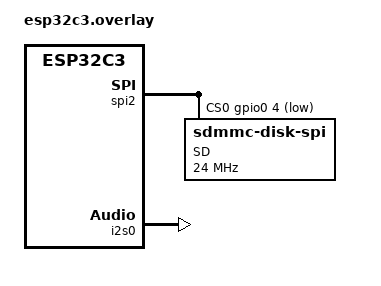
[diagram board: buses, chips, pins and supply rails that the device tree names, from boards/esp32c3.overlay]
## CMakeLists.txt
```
cmake_minimum_required(VERSION 3.20.0)
find_package(Zephyr REQUIRED HINTS $ENV{ZEPHYR_BASE})
project(ai_pin_firmware)

zephyr_include_directories(include)

target_sources(app PRIVATE
  src/main.c
  src/audio.c
  src/ui.c
  src/ws2812.c
)
```

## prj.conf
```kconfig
# Logging
CONFIG_LOG=y
CONFIG_LOG_DEFAULT_LEVEL=3

# Console over UART
CONFIG_SERIAL=y
CONFIG_UART_CONSOLE=y

# Filesystem (disabled for basic bring-up)
# CONFIG_FILE_SYSTEM is not set
# CONFIG_FAT_FILESYSTEM_ELM is not set
# CONFIG_DISK_ACCESS is not set
# CONFIG_SPI is not set
# CONFIG_SPI_INIT_PRIORITY is not set
# CONFIG_FS_FATFS_LFN is not set
# CONFIG_FS_FATFS_MAX_LFN is not set
# CONFIG_FS_FATFS_NUM_FILES is not set
# CONFIG_FS_FATFS_NUM_DIRS is not set
# Use default autogenerated FF_VOLUME_STRS from DT
# (no explicit volume strings needed with sdhc-spi-slot)

# I2S audio
CONFIG_I2S=y
CONFIG_I2S_INIT_PRIORITY=80
CONFIG_AUDIO=y
CONFIG_RING_BUFFER=y
CONFIG_DMA=y
CONFIG_DMA_ESP32=y

# Networking (disabled for basic bring-up)
# CONFIG_NETWORKING is not set
# CONFIG_NET_IPV4 is not set
# CONFIG_NET_SOCKETS is not set
# CONFIG_NET_SOCKETS_SOCKOPT_TLS is not set
# CONFIG_MBEDTLS is not set
# CONFIG_HTTP_CLIENT is not set
# CONFIG_NET_DHCPV4 is not set
# CONFIG_WIFI is not set
# CONFIG_NET_CONFIG_SETTINGS is not set

# Settings (NVS backed)
CONFIG_SETTINGS=y

# Threading
CONFIG_MAIN_STACK_SIZE=4096
CONFIG_SYSTEM_WORKQUEUE_STACK_SIZE=4096

# Logging backends
CONFIG_LOG_PROCESS_THREAD=y
CONFIG_LOG_PROCESS_THREAD_STACK_SIZE=2048

# GPIO for LEDs
CONFIG_GPIO=y
```

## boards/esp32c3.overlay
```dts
/ {
    aliases {
        spi-sd = &spi2;
    };
};

&spi2 {
    status = "okay";
    cs-gpios = <&gpio0 4 GPIO_ACTIVE_LOW>; // microSD CS on GPIO4 per ai-pin.ato
    /* Adjust these pins to match your actual board routing */
    /* mosi: IO7, miso: IO2, sclk: IO6 (example) */

    sdcard: spi-slot@0 {
        compatible = "zephyr,sdmmc-disk-spi";
        reg = <0>;
        spi-max-frequency = <24000000>;
        status = "okay";
        label = "SD";
    };
};

&i2s0 {
    status = "okay";
    /* Configure pinctrl for your ICS-43434 I2S mic here */
};
```

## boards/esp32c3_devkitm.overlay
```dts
/ {
    chosen {
        zephyr,console = &usb_serial;
        zephyr,uart-mcumgr = &usb_serial;
    };
    aliases {
        spi-sd = &spi2;
        status-led0 = &gpio0;
    };
};

&spi2 {
    status = "okay";
    pinctrl-0 = <&spim2_ai_default>;
    pinctrl-names = "default";
    cs-gpios = <&gpio0 4 GPIO_ACTIVE_LOW>; // microSD CS on GPIO4 per ai-pin.ato

    sdcard: spi-slot@0 {
        compatible = "zephyr,sdhc-spi-slot";
        reg = <0>;
        spi-max-frequency = <4000000>;
        status = "okay";
        mmc {
            compatible = "zephyr,sdmmc-disk";
            disk-name = "SD";
            status = "okay";
        };
    };
};

&i2s {
    status = "disabled";
};

&dma {
    status = "okay";
};

/* GPIO20 used for red indicator LED, GPIO21 used for WS2812 data */
&gpio0 {
    status = "okay";
};

&pinctrl {
    spim2_ai_default: spim2_ai_default {
        group1 {
            pinmux = <SPIM2_MISO_GPIO8>,
                     <SPIM2_SCLK_GPIO10>;
        };
        group2 {
            pinmux = <SPIM2_MOSI_GPIO7>;
            output-low;
        };
    };
};
```

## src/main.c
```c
// Core
#include <zephyr/kernel.h>
#include <zephyr/logging/log.h>

// Subsystems
#include "audio.h"
#include "storage.h"
#include "net.h"
#include "ui.h"

LOG_MODULE_REGISTER(ai_pin, LOG_LEVEL_INF);

static void start_workers(void)
{
    // storage_init();
    // audio_init();
    // net_init();
    ui_init();

    // storage_start();
    // audio_start();
}

int main(void)
{
    LOG_INF("AI Pin firmware (Zephyr) booting");

    start_workers();

    while (true)
    {
        ui_tick();
        k_sleep(K_MSEC(100));
    }
    return 0;
}
```

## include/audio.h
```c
#pragma once

#include <zephyr/kernel.h>

// Audio capture parameters (16 kHz, 16-bit, mono)
#define AI_AUDIO_SAMPLE_RATE_HZ 16000
#define AI_AUDIO_BITS_PER_SAMPLE 16
#define AI_AUDIO_CHANNELS 1

// Size of ring buffer in bytes (2 seconds of audio)
#define AI_AUDIO_RING_BYTES (AI_AUDIO_SAMPLE_RATE_HZ * 2 /*bytes*/ * 2 /*sec*/)

void audio_init(void);
void audio_start(void);
void audio_stop(void);

// Called by storage to pull PCM data; returns bytes copied
size_t audio_read(uint8_t *dst, size_t max_len, k_timeout_t timeout);
```

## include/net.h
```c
#pragma once

// Networking stubs (Wi‑Fi manager + uploader)

int net_init(void);
int net_connect_async(void);

// Wi‑Fi provisioning expects /SD:/wifi.txt with lines:
// ssid=YourNetwork
// psk=YourPassword

// Status helpers
bool net_is_wifi_connected(void);
```

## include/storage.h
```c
#pragma once

#include <zephyr/kernel.h>
#include <zephyr/fs/fs.h>

// Initialize filesystem and worker thread
int storage_init(void);
int storage_start(void);

// File rotation control (duration in seconds)
void storage_set_segment_duration(uint32_t seconds);

// Simple API to signal start/stop of recording
void storage_begin_recording(void);
void storage_end_recording(void);

// Status helpers
bool storage_is_mounted(void);
```

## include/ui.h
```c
#pragma once

void ui_init(void);
void ui_tick(void);
```

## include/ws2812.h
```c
#pragma once

#include <zephyr/kernel.h>

/*
 Minimal WS2812/SK6805 single-LED driver using GPIO bit-banging.
 Timing is approximate; sufficient for a single LED status indicator.
*/

void ws2812_init(void);
void ws2812_set_rgb(uint8_t r, uint8_t g, uint8_t b);
void ws2812_off(void);
/* Allow tuning of timing (counts of inline NOPs) */
void ws2812_set_timing(uint32_t t0h_nops, uint32_t t0l_nops, uint32_t t1h_nops, uint32_t t1l_nops);
```

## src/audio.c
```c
#include <zephyr/kernel.h>
#include <zephyr/logging/log.h>
#include <zephyr/sys/ring_buffer.h>

#include "audio.h"

LOG_MODULE_REGISTER(ai_audio, LOG_LEVEL_INF);

static uint8_t audio_ring_buf_mem[AI_AUDIO_RING_BYTES];
static struct ring_buf audio_ring;

static struct k_thread audio_thread_data;
static K_THREAD_STACK_DEFINE(audio_stack, 2048);
static k_tid_t audio_tid;

static volatile bool running = false;

static void audio_thread(void *p1, void *p2, void *p3)
{
    ARG_UNUSED(p1);
    ARG_UNUSED(p2);
    ARG_UNUSED(p3);

    // Temporary stub source: generate silence into ring buffer at ~16 kHz
    running = true;
    const uint32_t bytes_per_ms = (AI_AUDIO_SAMPLE_RATE_HZ / 1000) * (AI_AUDIO_BITS_PER_SAMPLE / 8) * AI_AUDIO_CHANNELS;
    uint8_t zero_buf[512] = {0};
    while (running)
    {
        uint32_t to_write = MIN(bytes_per_ms * 10, (uint32_t)sizeof(zero_buf));
        uint32_t wrote = ring_buf_put(&audio_ring, zero_buf, to_write);
        if (wrote < to_write)
        {
            // drop silently
        }
        k_sleep(K_MSEC(10));
    }
}

void audio_init(void)
{
    ring_buf_init(&audio_ring, sizeof(audio_ring_buf_mem), audio_ring_buf_mem);
}

void audio_start(void)
{
    if (audio_tid)
        return;
    audio_tid = k_thread_create(&audio_thread_data, audio_stack, K_THREAD_STACK_SIZEOF(audio_stack),
                                audio_thread, NULL, NULL, NULL, K_PRIO_PREEMPT(5), 0, K_NO_WAIT);
}

void audio_stop(void)
{
    running = false;
}

size_t audio_read(uint8_t *dst, size_t max_len, k_timeout_t timeout)
{
    size_t n = ring_buf_get(&audio_ring, dst, max_len);
    if (n == 0)
    {
        k_sleep(timeout);
        n = ring_buf_get(&audio_ring, dst, max_len);
    }
    return n;
}
```

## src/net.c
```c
// Core / logging
#include <zephyr/kernel.h>
#include <zephyr/logging/log.h>

// Filesystem
#include <zephyr/fs/fs.h>

// Networking
#include <zephyr/net/net_if.h>
#include <zephyr/net/net_mgmt.h>
#include <zephyr/net/wifi_mgmt.h>
#include <ctype.h>

#include "net.h"

LOG_MODULE_REGISTER(ai_net, LOG_LEVEL_INF);

static struct k_thread wifi_thread_data;
static K_THREAD_STACK_DEFINE(wifi_stack, 2048);
static k_tid_t wifi_tid;

static struct net_mgmt_event_callback wifi_cb;
static struct net_if *wifi_iface;

static volatile bool wifi_connected = false;
bool net_is_wifi_connected(void)
{
    return wifi_connected;
}

static void wifi_event_handler(struct net_mgmt_event_callback *cb, uint32_t mgmt_event, struct net_if *iface)
{
    switch (mgmt_event)
    {
    case NET_EVENT_WIFI_CONNECT_RESULT:
        LOG_INF("Wi‑Fi connect result: %d", cb->info ? *(int *)cb->info : 0);
        break;
    case NET_EVENT_WIFI_DISCONNECT_RESULT:
        LOG_WRN("Wi‑Fi disconnected");
        wifi_connected = false;
        break;
    case NET_EVENT_IPV4_ADDR_ADD:
        LOG_INF("Got IPv4 address");
        wifi_connected = true;
        break;
    default:
        break;
    }
}

static int read_wifi_txt(char *ssid, size_t ssid_sz, char *psk, size_t psk_sz)
{
    struct fs_file_t file;
    fs_file_t_init(&file);
    int rc = fs_open(&file, "/SD:/wifi.txt", FS_O_READ);
    if (rc < 0)
    {
        return rc;
    }
    char buf[256];
    ssize_t n = fs_read(&file, buf, sizeof(buf) - 1);
    fs_close(&file);
    if (n <= 0)
    {
        return -EIO;
    }
    buf[n] = '\0';
    // Simple parser: lines like "ssid=..." and "psk=..." (case‑insensitive)
    char *line = buf;
    while (line && *line)
    {
        char *next = strchr(line, '\n');
        if (next)
            *next = '\0';
        // trim leading spaces
        while (*line == ' ' || *line == '\t' || *line == '\r')
            line++;
        // find '=' or ':'
        char *sep = strchr(line, '=');
        if (!sep)
            sep = strchr(line, ':');
        if (sep)
        {
            *sep = '\0';
            char *key = line;
            char *val = sep + 1;
            // trim key end
            for (char *p = key; *p; ++p)
                *p = (char)tolower((unsigned char)*p);
            while (*val == ' ' || *val == '\t')
                val++;
            if (strcmp(key, "ssid") == 0)
            {
                strncpy(ssid, val, ssid_sz - 1);
                ssid[ssid_sz - 1] = '\0';
            }
            else if (strcmp(key, "psk") == 0 || strcmp(key, "password") == 0 || strcmp(key, "pass") == 0)
            {
                strncpy(psk, val, psk_sz - 1);
                psk[psk_sz - 1] = '\0';
            }
        }
        line = next ? (next + 1) : NULL;
    }
    return 0;
}

static int wifi_connect_with_credentials(const char *ssid, const char *psk)
{
    struct wifi_connect_req_params params = {0};
    params.ssid = ssid;
    params.ssid_length = strlen(ssid);
    params.psk = psk;
    params.psk_length = strlen(psk);
    params.security = WIFI_SECURITY_TYPE_PSK;
    params.channel = WIFI_CHANNEL_ANY;
    params.mfp = WIFI_MFP_OPTIONAL;

    int rc = net_mgmt(NET_REQUEST_WIFI_CONNECT, wifi_iface, &params, sizeof(params));
    if (rc)
    {
        LOG_ERR("Wi‑Fi connect request failed: %d", rc);
        return rc;
    }
    return 0;
}

static void wifi_thread(void *p1, void *p2, void *p3)
{
    ARG_UNUSED(p1);
    ARG_UNUSED(p2);
    ARG_UNUSED(p3);

    // Subscribe to Wi‑Fi and IP events
    net_mgmt_init_event_callback(&wifi_cb, (net_mgmt_event_handler_t)wifi_event_handler,
                                 NET_EVENT_WIFI_CONNECT_RESULT |
                                     NET_EVENT_WIFI_DISCONNECT_RESULT |
                                     NET_EVENT_IPV4_ADDR_ADD);
    net_mgmt_add_event_callback(&wifi_cb);

    wifi_iface = net_if_get_default();
    if (!wifi_iface)
    {
        LOG_ERR("No default net_if");
        return;
    }

    // Poll for credentials file on SD card
    char ssid[64] = {0};
    char psk[64] = {0};
    while (read_wifi_txt(ssid, sizeof(ssid), psk, sizeof(psk)) < 0)
    {
        k_sleep(K_SECONDS(1));
    }
    LOG_INF("Read Wi‑Fi credentials for SSID='%s'", ssid);

    // Attempt connection
    int rc = wifi_connect_with_credentials(ssid, psk);
    if (rc)
    {
        return;
    }

    // Wait until we are connected (got IPv4) or timeout
    int64_t deadline = k_uptime_get() + 2000; // 2s
    while (!wifi_connected && k_uptime_get() < deadline)
    {
        k_sleep(K_MSEC(200));
    }
    if (wifi_connected)
    {
        LOG_INF("Wi‑Fi connected and IPv4 acquired");
    }
    else
    {
        LOG_WRN("Wi‑Fi connect timeout");
    }
}

int net_init(void)
{
    if (wifi_tid)
        return 0;
    wifi_tid = k_thread_create(&wifi_thread_data, wifi_stack, K_THREAD_STACK_SIZEOF(wifi_stack),
                               wifi_thread, NULL, NULL, NULL, K_PRIO_PREEMPT(8), 0, K_NO_WAIT);
    return 0;
}

int net_connect_async(void)
{
    // Thread starts in net_init
    return 0;
}
```

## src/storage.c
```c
#include <zephyr/kernel.h>
#include <zephyr/fs/fs.h>
#include <zephyr/drivers/disk.h>
#include <zephyr/logging/log.h>
#include <zephyr/posix/time.h>

#include "audio.h"
#include "storage.h"

LOG_MODULE_REGISTER(ai_storage, LOG_LEVEL_INF);

// Mount point for FATFS
static const char *mount_point = "/SD:";

static struct fs_mount_t mp = {
    .type = FS_FATFS,
    .mnt_point = "/SD:",
};

static struct k_thread storage_thread_data;
static K_THREAD_STACK_DEFINE(storage_stack, 4096);
static k_tid_t storage_tid;

static volatile bool recording = true;
static uint32_t segment_seconds = 300; // default 5 minutes

static int wav_open(struct fs_file_t *file, char *path, size_t path_len, uint32_t sample_rate, uint16_t bits, uint16_t channels)
{
    // Generate filename with monotonic time
    int64_t now_ms = k_uptime_get();
    snprintk(path, path_len, "%s/%lld.wav", mount_point, (long long)now_ms);

    int rc = fs_open(file, path, FS_O_CREATE | FS_O_WRITE);
    if (rc < 0)
    {
        LOG_ERR("fs_open %s failed: %d", path, rc);
        return rc;
    }
    // Write a 44-byte WAV header placeholder; we will fix sizes on close
    uint8_t header[44] = {0};
    // RIFF chunk
    memcpy(header + 0, "RIFF", 4);
    // chunk size placeholder at +4
    memcpy(header + 8, "WAVE", 4);
    // fmt chunk
    memcpy(header + 12, "fmt ", 4);
    header[16] = 16; // PCM fmt chunk size
    header[20] = 1;  // PCM format
    header[22] = channels & 0xFF;
    header[23] = (channels >> 8) & 0xFF;
    uint32_t sr = sample_rate;
    header[24] = sr & 0xFF;
    header[25] = (sr >> 8) & 0xFF;
    header[26] = (sr >> 16) & 0xFF;
    header[27] = (sr >> 24) & 0xFF;
    uint16_t bps = bits;
    uint16_t block_align = (channels * (bps / 8));
    uint32_t byte_rate = sr * block_align;
    header[28] = byte_rate & 0xFF;
    header[29] = (byte_rate >> 8) & 0xFF;
    header[30] = (byte_rate >> 16) & 0xFF;
    header[31] = (byte_rate >> 24) & 0xFF;
    header[32] = block_align & 0xFF;
    header[33] = (block_align >> 8) & 0xFF;
    header[34] = bps & 0xFF;
    header[35] = (bps >> 8) & 0xFF;
    // data chunk
    memcpy(header + 36, "data", 4);
    // data size at +40 placeholder

    rc = fs_write(file, header, sizeof(header));
    if (rc < 0)
    {
        LOG_ERR("fs_write header failed: %d", rc);
        fs_close(file);
        return rc;
    }
    return 0;
}

static int wav_finalize(struct fs_file_t *file)
{
    // Update RIFF and data sizes
    off_t file_size = fs_tell(file);
    if (file_size < 44)
        return -EINVAL;
    uint32_t data_size = file_size - 44;
    uint32_t riff_size = file_size - 8;
    // Seek and write
    fs_seek(file, 4, FS_SEEK_SET);
    uint8_t tmp[4];
    tmp[0] = riff_size & 0xFF;
    tmp[1] = (riff_size >> 8) & 0xFF;
    tmp[2] = (riff_size >> 16) & 0xFF;
    tmp[3] = (riff_size >> 24) & 0xFF;
    fs_write(file, tmp, 4);
    fs_seek(file, 40, FS_SEEK_SET);
    tmp[0] = data_size & 0xFF;
    tmp[1] = (data_size >> 8) & 0xFF;
    tmp[2] = (data_size >> 16) & 0xFF;
    tmp[3] = (data_size >> 24) & 0xFF;
    fs_write(file, tmp, 4);
    fs_sync(file);
    return 0;
}

static volatile bool g_mounted = false;

bool storage_is_mounted(void)
{
    return g_mounted;
}

static int ensure_mount(void)
{
    static bool mounted = false;
    if (mounted)
        return 0;

    // Allow card power-up settle
    k_sleep(K_MSEC(200));
    int rc = disk_access_init("SD");
    if (rc)
    {
        LOG_ERR("disk_access_init failed: %d", rc);
        return rc;
    }

    rc = fs_mount(&mp);
    if (rc == 0)
    {
        LOG_INF("Mounted FAT at %s", mount_point);
        mounted = true;
        g_mounted = true;
    }
    else if (rc == -ENODEV)
    {
        LOG_WRN("No SD card detected yet");
    }
    else
    {
        LOG_ERR("fs_mount failed: %d", rc);
    }
    return rc;
}

static void storage_thread(void *p1, void *p2, void *p3)
{
    ARG_UNUSED(p1);
    ARG_UNUSED(p2);
    ARG_UNUSED(p3);

    int rc;
    while ((rc = ensure_mount()) != 0)
    {
        k_sleep(K_SECONDS(1));
    }

    // Create root dir if needed
    struct fs_dirent ent;
    rc = fs_stat(mount_point, &ent);
    if (rc < 0)
    {
        LOG_WRN("Root missing? rc=%d", rc);
    }

    struct fs_file_t file;
    fs_file_t_init(&file);
    char path[64];

    rc = wav_open(&file, path, sizeof(path), AI_AUDIO_SAMPLE_RATE_HZ, AI_AUDIO_BITS_PER_SAMPLE, AI_AUDIO_CHANNELS);
    if (rc)
    {
        LOG_ERR("Failed to open wav file: %d", rc);
        return;
    }

    const uint32_t bytes_per_sec = AI_AUDIO_SAMPLE_RATE_HZ * AI_AUDIO_CHANNELS * (AI_AUDIO_BITS_PER_SAMPLE / 8);
    uint32_t bytes_written_this_segment = 0;

    uint8_t buf[2048];
    int64_t segment_end = k_uptime_get() + (int64_t)segment_seconds * 1000;

    while (true)
    {
        size_t n = audio_read(buf, sizeof(buf), K_MSEC(200));
        if (n > 0)
        {
            int w = fs_write(&file, buf, n);
            if (w < 0)
            {
                LOG_ERR("fs_write failed: %d", w);
                k_sleep(K_MSEC(50));
            }
            else
            {
                bytes_written_this_segment += (uint32_t)w;
                if (bytes_written_this_segment >= bytes_per_sec)
                {
                    fs_sync(&file);
                    bytes_written_this_segment = 0;
                }
            }
        }

        if (k_uptime_get() >= segment_end)
        {
            // rotate
            fs_sync(&file);
            wav_finalize(&file);
            fs_close(&file);
            rc = wav_open(&file, path, sizeof(path), AI_AUDIO_SAMPLE_RATE_HZ, AI_AUDIO_BITS_PER_SAMPLE, AI_AUDIO_CHANNELS);
            if (rc)
            {
                LOG_ERR("rotate open failed: %d", rc);
                break;
            }
            segment_end = k_uptime_get() + (int64_t)segment_seconds * 1000;
        }
    }
}

int storage_init(void)
{
    return 0;
}

int storage_start(void)
{
    if (storage_tid)
        return 0;
    storage_tid = k_thread_create(&storage_thread_data, storage_stack, K_THREAD_STACK_SIZEOF(storage_stack),
                                  storage_thread, NULL, NULL, NULL, K_PRIO_PREEMPT(7), 0, K_NO_WAIT);
    return 0;
}

void storage_set_segment_duration(uint32_t seconds)
{
    segment_seconds = seconds;
}

void storage_begin_recording(void)
{
    recording = true;
}

void storage_end_recording(void)
{
    recording = false;
}
```

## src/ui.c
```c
#include <zephyr/kernel.h>
#include <zephyr/logging/log.h>
#include <zephyr/device.h>
#include <zephyr/drivers/gpio.h>

#include "ui.h"
#include "ws2812.h"
#include "net.h"
#include "storage.h"

LOG_MODULE_REGISTER(ai_ui, LOG_LEVEL_INF);

/* Red indicator LED on GPIO20 per ai-pin.ato */
#define UI_LED_GPIO_PIN 20

static const struct device *ui_gpio_dev = DEVICE_DT_GET(DT_NODELABEL(gpio0));

void ui_init(void)
{
    if (!device_is_ready(ui_gpio_dev))
    {
        LOG_ERR("GPIO controller not ready");
    }
    else
    {
        int rc = gpio_pin_configure(ui_gpio_dev, UI_LED_GPIO_PIN, GPIO_OUTPUT_INACTIVE);
        if (rc)
        {
            LOG_ERR("gpio_pin_configure failed: %d", rc);
        }
    }
    ws2812_init();
}

void ui_tick(void)
{
    static bool led_on = false;
    static int64_t next_toggle = 0;
    int64_t now = k_uptime_get();
    if (now >= next_toggle)
    {
        led_on = !led_on;
        next_toggle = now + 100; // 10 Hz blink (toggle every 100 ms) for faster scope analysis

        if (ui_gpio_dev)
        {
            gpio_pin_set(ui_gpio_dev, UI_LED_GPIO_PIN, led_on ? 1 : 0);
        }

        /* Simple alternating pattern for scope analysis */
        static bool color_state = false;
        if (color_state) {
            ws2812_set_rgb(0, 0, 255);
        } else {
            ws2812_set_rgb(0, 255, 0);
        }
        color_state = !color_state;
    }
}
```

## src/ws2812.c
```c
#include <zephyr/kernel.h>
#include <zephyr/device.h>
#include <zephyr/drivers/gpio.h>
#include <zephyr/sys/time_units.h>
#include <zephyr/irq.h>

#include "ws2812.h"

#include <zephyr/logging/log.h>
LOG_MODULE_REGISTER(ws2812, LOG_LEVEL_INF);

/* GPIO21 per ai-pin.ato connection for addressable_led.data_in */
#define WS2812_GPIO_PIN 21

static const struct device *gpio_dev = DEVICE_DT_GET(DT_NODELABEL(gpio0));

// T1H 1 code ,high voltage time 0.8us ±150ns
// T1L 1 code ,low voltage time 0.45us ±150ns
// T0H 0 code ,high voltage time 0.4us ±150ns
// T0L 0 code , low voltage time 0.85us ±150ns

static inline void ws2812_nops(uint32_t n)
{
    for (volatile uint32_t i = 0; i < n; ++i)
    {
        __asm__ volatile ("nop");
    }
}

static void ws2812_write_byte(uint8_t b)
{
    for (int i = 7; i >= 0; --i)
    {
        bool bit = (b >> i) & 1;
        gpio_pin_set_raw(gpio_dev, WS2812_GPIO_PIN, 1);

        if (bit)
        {
            ws2812_nops(7);
            gpio_pin_set_raw(gpio_dev, WS2812_GPIO_PIN, 0);
            ws2812_nops(3);
        }
        else
        {
            ws2812_nops(2);
            gpio_pin_set_raw(gpio_dev, WS2812_GPIO_PIN, 0);
            ws2812_nops(8);
        }
    }
}

void ws2812_init(void)
{
    if (!device_is_ready(gpio_dev))
    {
        LOG_ERR("GPIO controller not ready");
        return;
    }
    int rc = gpio_pin_configure(gpio_dev, WS2812_GPIO_PIN, GPIO_OUTPUT);
    if (rc)
    {
        LOG_ERR("gpio_pin_configure failed: %d", rc);
        return;
    }
    LOG_INF("WS2812 GPIO initialized on pin %d", WS2812_GPIO_PIN);
    /* Ensure LED is off at boot and send a reset */
    gpio_pin_set_raw(gpio_dev, WS2812_GPIO_PIN, 0);
    k_busy_wait(300);
    /* Force LED completely off first */
    LOG_INF("Turning WS2812 OFF");
    ws2812_off();
    k_sleep(K_MSEC(100));
    /* Test with a simple red color to verify it's working */
    LOG_INF("Testing WS2812 with red color - you should see timing on scope");
    ws2812_set_rgb(255, 0, 0); /* Full brightness red for easier scope measurement */
    
    /* Send a test pattern for easier scope analysis */
    LOG_INF("Sending test pattern: 0xAA (alternating 1010 pattern)");
    for (int i = 0; i < 3; i++) {
        ws2812_write_byte(0xAA); /* 10101010 pattern for easy timing measurement */
    }
    gpio_pin_set_raw(gpio_dev, WS2812_GPIO_PIN, 0);
    k_busy_wait(80);
}

void ws2812_set_rgb(uint8_t r, uint8_t g, uint8_t b)
{
    if (!device_is_ready(gpio_dev))
        return;

    /* WS2812 expects GRB order */
    unsigned int key = irq_lock();
    ws2812_write_byte(g);
    ws2812_write_byte(r);
    ws2812_write_byte(b);
    /* Reset: hold low for >50us */
    gpio_pin_set_raw(gpio_dev, WS2812_GPIO_PIN, 0);
    k_busy_wait(80);
    irq_unlock(key);
}

void ws2812_off(void)
{
    ws2812_set_rgb(0, 0, 0);
}
```
